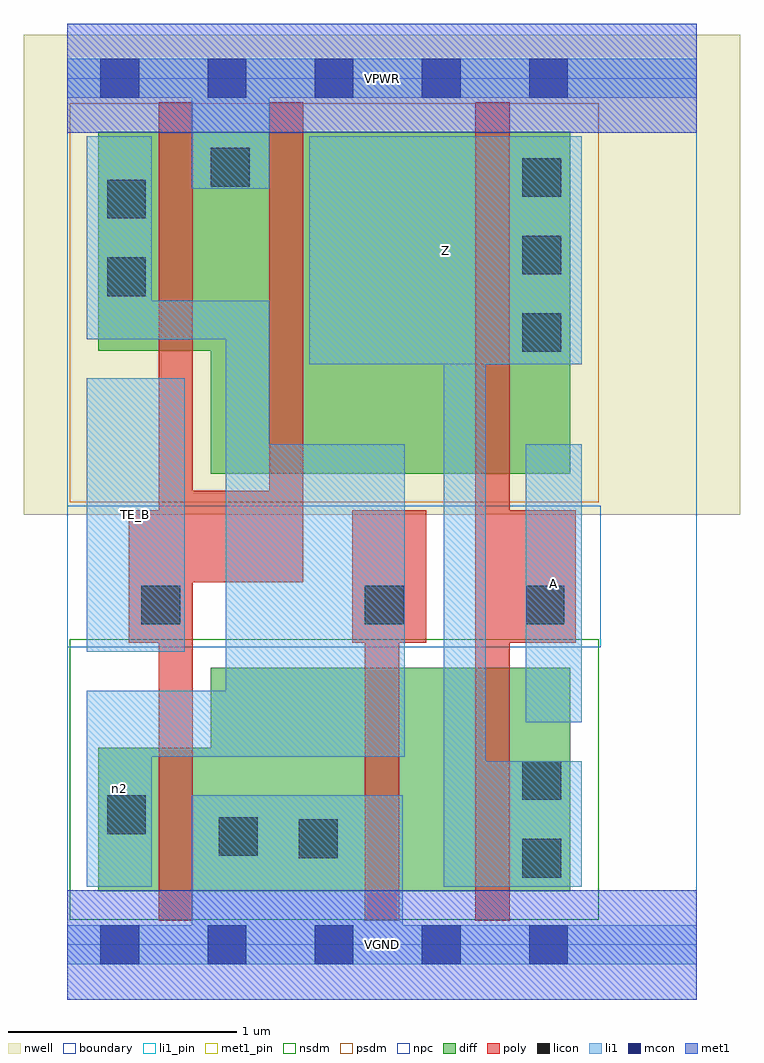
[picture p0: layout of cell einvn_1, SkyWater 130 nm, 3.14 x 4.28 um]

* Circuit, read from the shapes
.subckt einvn_1 A TE_B VGND VPWR Z n2
XM1 VGND TE_B n2 VSUBS sky130_fd_pr__nfet_01v8 w=0.63 l=0.15
XM2 n1 n2 VGND VSUBS sky130_fd_pr__nfet_01v8 w=0.98 l=0.15
XM3 Z A n1 VSUBS sky130_fd_pr__nfet_01v8 w=0.98 l=0.15
XM4 VPWR TE_B n2 n3 sky130_fd_pr__pfet_01v8 w=0.96 l=0.15
XM5 n4 TE_B VPWR n3 sky130_fd_pr__pfet_01v8 w=1.5 l=0.15
XM6 Z A n4 n3 sky130_fd_pr__pfet_01v8 w=1.5 l=0.15
.ends

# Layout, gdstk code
import gdstk
lib = gdstk.Library(unit=1e-6, precision=1e-09)
def R(c, l, rs):  # rectangles x0, y0, x1, y1
    for r in rs: c.add(gdstk.rectangle(r[:2], r[2:], *l))
def A(c, l, x, y, w, h, nx, ny, dx, dy):  # array of equal rectangles
    R(c, l, [(x+i*dx, y+j*dy, x+i*dx+w, y+j*dy+h) for i in range(nx) for j in range(ny)])
nwell = (64, 20)
diff = (65, 20)
poly = (66, 20)
licon = (66, 44)
li1_pin = (67, 16)
li1 = (67, 20)
mcon = (67, 44)
met1_pin = (68, 16)
met1 = (68, 20)
nsdm = (93, 44)
psdm = (94, 20)
npc = (95, 20)
boundary = (235, 4)

einvn_1 = lib.new_cell('einvn_1')
R(einvn_1, nwell, [(-0.19,1.885,2.95,3.99), (0,1.885,2.76,3.99)])
R(einvn_1, diff, [(0.135,0.235,2.205,0.865), (0.63,0.235,2.205,1.215), (0.63,2.065,2.205,3.565), (0.135,2.605,2.205,3.565)])
R(einvn_1, poly, [(0.4,0.105,0.55,3.695), (1.305,0.105,1.455,1.905), (1.79,0.105,1.94,3.695), (0.27,1.325,0.55,1.905), (1.25,1.325,1.575,1.905), (1.79,1.325,2.23,1.905), (0.4,1.59,1.035,1.99), (0.885,1.59,1.035,3.695)])
A(einvn_1, licon, 1.995, 2.6, 0.17, 0.17, 1, 3, 0, 0.34)
R(einvn_1, licon, [(1.995,0.295,2.165,0.465), (1.015,0.38,1.185,0.55), (0.665,0.39,0.835,0.56), (0.175,0.485,0.345,0.655), (1.995,0.635,2.165,0.805), (0.325,1.405,0.495,1.575), (1.305,1.405,1.475,1.575), (2.01,1.405,2.18,1.575), (0.175,2.845,0.345,3.015), (0.175,3.185,0.345,3.355), (0.63,3.325,0.8,3.495)])
R(einvn_1, li1_pin, [(2.01,0.975,2.255,2.195), (0.085,1.285,0.515,2.485), (1.06,2.545,2.255,3.545)])
R(einvn_1, li1, [(0,-0.085,2.76,0.085), (0.545,-0.085,1.47,0.655), (0.085,0.255,0.37,1.115), (1.65,0.255,1.835,3.545), (1.65,0.255,2.255,0.805), (0.085,0.825,1.48,1.115), (0.695,0.825,1.48,2.195), (0.695,0.825,0.885,2.825), (2.01,0.975,2.255,2.195), (0.085,1.285,0.515,2.485), (1.06,2.545,2.255,3.545), (0.085,2.655,0.37,3.545), (0.085,2.655,0.885,2.825), (0.545,3.315,0.885,3.885), (0,3.715,2.76,3.885)])
A(einvn_1, mcon, 0.145, -0.085, 0.17, 0.17, 5, 2, 0.47, 3.8)
R(einvn_1, met1_pin, [(0,-0.24,2.76,0.24), (0,3.56,2.76,4.04)])
R(einvn_1, met1, [(0,-0.24,2.76,0.24), (0,3.56,2.76,4.04)])
R(einvn_1, nsdm, [(0.01,0.11,2.33,1.34)])
R(einvn_1, psdm, [(0.01,1.94,2.33,3.69)])
R(einvn_1, npc, [(0,1.305,2.34,1.925)])
R(einvn_1, boundary, [(0,0,2.76,3.8)])
einvn_1.add(gdstk.Label('A', (2.132,1.585), layer=67, texttype=5))
einvn_1.add(gdstk.Label('TE_B', (0.3,1.885), layer=67, texttype=5))
einvn_1.add(gdstk.Label('Z', (1.657,3.045), layer=67, texttype=5))
einvn_1.add(gdstk.Label('n2', (0.227,0.685), layer=67, texttype=5))
einvn_1.add(gdstk.Label('VPWR', (1.38,3.8), layer=68, texttype=5))
einvn_1.add(gdstk.Label('VGND', (1.38,0), layer=68, texttype=5))
einvn_1.add(gdstk.Label('A', (2.132,1.585), layer=67, texttype=16))
einvn_1.add(gdstk.Label('TE_B', (0.3,1.885), layer=67, texttype=16))
einvn_1.add(gdstk.Label('Z', (1.657,3.045), layer=67, texttype=16))
einvn_1.add(gdstk.Label('VPWR', (1.38,3.8), layer=68, texttype=16))
einvn_1.add(gdstk.Label('VGND', (1.38,0), layer=68, texttype=16))

lib.write_gds('einvn_1.gds')
